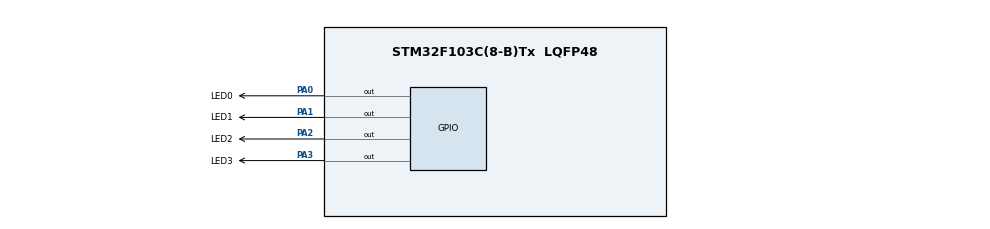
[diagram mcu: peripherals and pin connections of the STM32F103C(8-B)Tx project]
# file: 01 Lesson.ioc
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Mcu.Family=STM32F1
Mcu.Name=STM32F103C(8-B)Tx
Mcu.Package=LQFP48
NVIC.PriorityGroup=NVIC_PRIORITYGROUP_4
PA0-WKUP.GPIO_Label=LED0
PA0-WKUP.Signal=GPIO_Output
PA1.GPIO_Label=LED1
PA1.Signal=GPIO_Output
PA13.Mode=Serial_Wire
PA13.Signal=SYS_JTMS-SWDIO
PA14.Mode=Serial_Wire
PA14.Signal=SYS_JTCK-SWCLK
PA2.GPIO_Label=LED2
PA2.Signal=GPIO_Output
PA3.GPIO_Label=LED3
PA3.Signal=GPIO_Output
ProjectManager.HeapSize=0x200
ProjectManager.StackSize=0x400
ProjectManager.TargetToolchain=Other Toolchains (GPDSC)
RCC.APB1Freq_Value=8000000
RCC.APB2Freq_Value=8000000
board=custom

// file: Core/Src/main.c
/* USER CODE BEGIN Header */
/**
  ******************************************************************************
  * @file           : main.c
  * @brief          : Main program body
  ******************************************************************************
  * @attention
  *
  * <h2><center>&copy; Copyright (c) 2020 STMicroelectronics.
  * All rights reserved.</center></h2>
  *
  * This software component is licensed by ST under BSD 3-Clause license,
  * the "License"; You may not use this file except in compliance with the
  * License. You may obtain a copy of the License at:
  *                        opensource.org/licenses/BSD-3-Clause
  *
  ******************************************************************************
  */
/* USER CODE END Header */
#include "main.h"

void SystemClock_Config(void);
static void MX_GPIO_Init(void);

int main(void)
{

  /* MCU Configuration--------------------------------------------------------*/

  /* Reset of all peripherals, Initializes the Flash interface and the Systick. */
  HAL_Init();

  /* Configure the system clock */
  SystemClock_Config();

  /* Initialize all configured peripherals */
  MX_GPIO_Init();

  /* Infinite loop */
  /* USER CODE BEGIN WHILE */
  while (1)
  {
	  HAL_GPIO_WritePin(LED0_GPIO_Port, LED0_Pin, GPIO_PIN_SET);
	  HAL_Delay(200);
	  HAL_GPIO_WritePin(LED0_GPIO_Port, LED0_Pin, GPIO_PIN_RESET);
	  HAL_Delay(200);

	  HAL_GPIO_WritePin(LED1_GPIO_Port, LED1_Pin, GPIO_PIN_SET);
	  HAL_Delay(200);
	  HAL_GPIO_WritePin(LED1_GPIO_Port, LED1_Pin, GPIO_PIN_RESET);
	  HAL_Delay(200);

	  HAL_GPIO_WritePin(LED2_GPIO_Port, LED2_Pin, GPIO_PIN_SET);
	  HAL_Delay(200);
	  HAL_GPIO_WritePin(LED2_GPIO_Port, LED2_Pin, GPIO_PIN_RESET);
	  HAL_Delay(200);

	  HAL_GPIO_WritePin(LED3_GPIO_Port, LED3_Pin, GPIO_PIN_SET);
	  HAL_Delay(200);
	  HAL_GPIO_WritePin(LED3_GPIO_Port, LED3_Pin, GPIO_PIN_RESET);
	  HAL_Delay(200);
    /* USER CODE END WHILE */

  }
}

void SystemClock_Config(void)
{
  RCC_OscInitTypeDef RCC_OscInitStruct = {0};
  RCC_ClkInitTypeDef RCC_ClkInitStruct = {0};

  /** Initializes the RCC Oscillators according to the specified parameters
  * in the RCC_OscInitTypeDef structure.
  */
  RCC_OscInitStruct.OscillatorType = RCC_OSCILLATORTYPE_HSI;
  RCC_OscInitStruct.HSIState = RCC_HSI_ON;
  RCC_OscInitStruct.HSICalibrationValue = RCC_HSICALIBRATION_DEFAULT;
  RCC_OscInitStruct.PLL.PLLState = RCC_PLL_NONE;
  if (HAL_RCC_OscConfig(&RCC_OscInitStruct) != HAL_OK)
  {
    Error_Handler();
  }
  /** Initializes the CPU, AHB and APB buses clocks
  */
  RCC_ClkInitStruct.ClockType = RCC_CLOCKTYPE_HCLK|RCC_CLOCKTYPE_SYSCLK
                              |RCC_CLOCKTYPE_PCLK1|RCC_CLOCKTYPE_PCLK2;
  RCC_ClkInitStruct.SYSCLKSource = RCC_SYSCLKSOURCE_HSI;
  RCC_ClkInitStruct.AHBCLKDivider = RCC_SYSCLK_DIV1;
  RCC_ClkInitStruct.APB1CLKDivider = RCC_HCLK_DIV1;
  RCC_ClkInitStruct.APB2CLKDivider = RCC_HCLK_DIV1;

  if (HAL_RCC_ClockConfig(&RCC_ClkInitStruct, FLASH_LATENCY_0) != HAL_OK)
  {
    Error_Handler();
  }
}

static void MX_GPIO_Init(void)
{
  GPIO_InitTypeDef GPIO_InitStruct = {0};

  /* GPIO Ports Clock Enable */
  __HAL_RCC_GPIOA_CLK_ENABLE();

  /*Configure GPIO pin Output Level */
  HAL_GPIO_WritePin(GPIOA, LED0_Pin|LED1_Pin|LED2_Pin|LED3_Pin, GPIO_PIN_RESET);

  /*Configure GPIO pins : LED0_Pin LED1_Pin LED2_Pin LED3_Pin */
  GPIO_InitStruct.Pin = LED0_Pin|LED1_Pin|LED2_Pin|LED3_Pin;
  GPIO_InitStruct.Mode = GPIO_MODE_OUTPUT_PP;
  GPIO_InitStruct.Pull = GPIO_NOPULL;
  GPIO_InitStruct.Speed = GPIO_SPEED_FREQ_LOW;
  HAL_GPIO_Init(GPIOA, &GPIO_InitStruct);

}

void Error_Handler(void)
{
}

/************************ (C) COPYRIGHT STMicroelectronics *****END OF FILE****/
